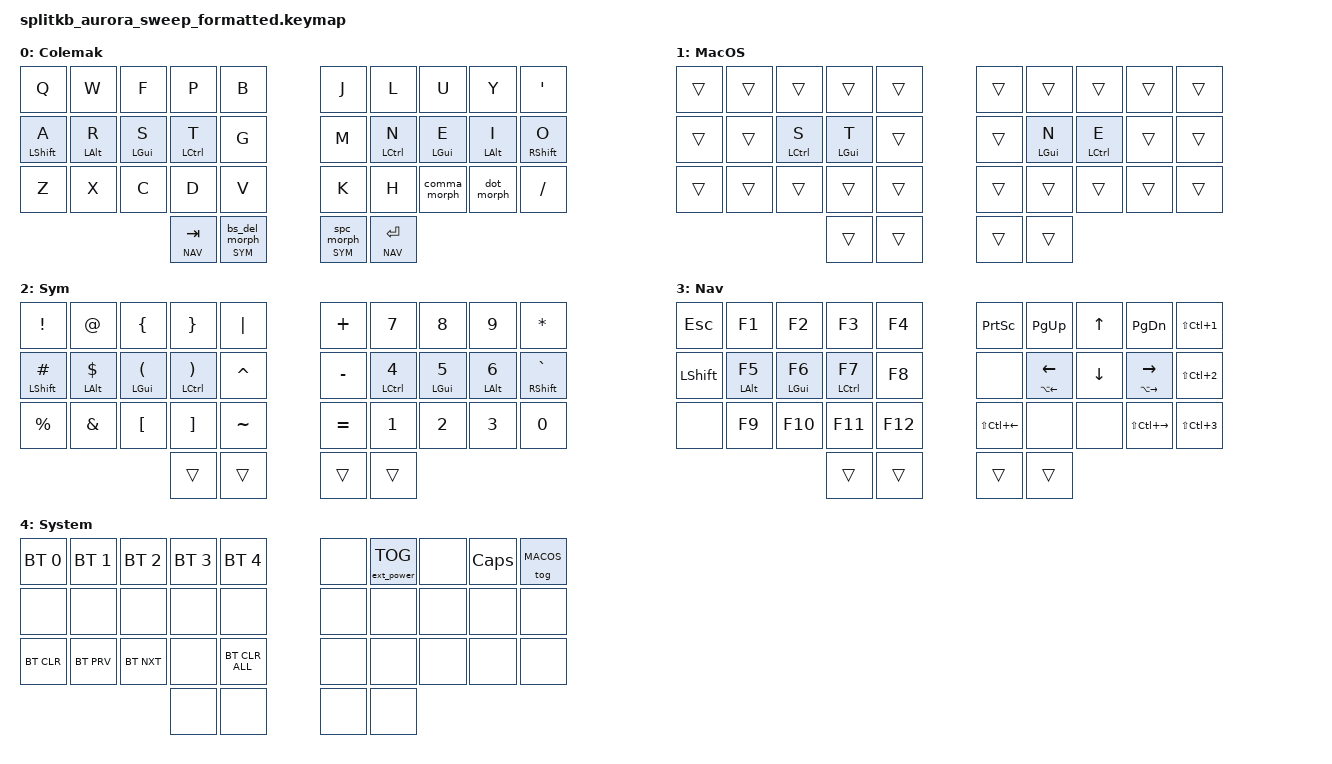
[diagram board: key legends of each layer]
#include <behaviors.dtsi>
#include <dt-bindings/zmk/bt.h>
#include <dt-bindings/zmk/keys.h>
#include <dt-bindings/zmk/ext_power.h>

#define BASE 0
#define MACOS 1
#define SYM 2
#define NAV 3
#define SYS 4

#define QUICK_TAP_MS 175
#define QUICK_TAP_MS_SLOW 250

#define COMBO_TERM_FAST 30
#define COMBO_TERM_SLOW 50

#define COMBO_IDLE_FAST 150
#define COMBO_IDLE_SLOW 50

&nice_view_spi {
    cs-gpios = <&pro_micro 1 GPIO_ACTIVE_HIGH>;  // use D1 for CS
};

// &led_strip {
//     chain-length = <23>;  // Adjust this to match your LED count
// };

/* sticky-key config */
&sk {
    release-after-ms = <900>;  // release after 0.6s
    quick-release;             // no double capitalization when rolling keys
};

/* sticky-layer config */
&sl {
    ignore-modifiers;          // allow chording sticky mods & layers
};

/* layer-tap config */
&lt {
    flavor = "balanced";
    tapping-term-ms = <200>;
    quick-tap-ms = <QUICK_TAP_MS>;
};

/* Shortcut aliases */

#define MOVETO_1    &kp LS(LC(N1))
#define MOVETO_2    &kp LS(LC(N2))
#define MOVETO_3    &kp LS(LC(N3))

#define TERM_LEFT   &kp LS(LC(LEFT))
#define TERM_RIGHT  &kp LS(LC(RIGHT))

#define DESK_UP     &kp LS(LA(LC(UP)))
#define DESK_DOWN   &kp LS(LA(LC(DOWN)))

#define _COPY       &kp LC(INS)
#define _PASTE      &kp LS(INS)

/* Homerow mods */

#define KEYS_L 0 1 2 3 4 10 11 12 13 14 20 21 22 23 24  // left hand
#define KEYS_R 5 6 7 8 9 15 16 17 18 19 25 26 27 28 29  // right hand
#define THUMBS 30 31 32 33                              // thumbs

/* Custom behaviors */

/ {
    behaviors {
        hml: homerow_mods_left {
            compatible = "zmk,behavior-hold-tap";
            #binding-cells = <2>;
            flavor = "balanced";
            tapping-term-ms = <280>;
            quick-tap-ms = <QUICK_TAP_MS>;
            require-prior-idle-ms = <150>;
            bindings = <&kp>, <&kp>;
            hold-trigger-key-positions = <KEYS_R THUMBS>;
            hold-trigger-on-release;
        };

        hmr: homerow_mods_right {
            compatible = "zmk,behavior-hold-tap";
            #binding-cells = <2>;
            flavor = "balanced";
            tapping-term-ms = <280>;
            quick-tap-ms = <QUICK_TAP_MS>;
            require-prior-idle-ms = <150>;
            bindings = <&kp>, <&kp>;
            hold-trigger-key-positions = <KEYS_L THUMBS>;
            hold-trigger-on-release;
        };

        // long-tap action on hold, short-tap action on all interrupts
        mt: mod_tap {
            compatible = "zmk,behavior-hold-tap";
            #binding-cells = <2>;
            flavor = "tap-preferred";
            tapping-term-ms = <220>;
            quick-tap-ms = <220>;
            hold-trigger-key-positions = <0>;
            bindings = <&kp>, <&kp>;
        };

        // tap: space | shift + tap: space -> sticky shift | hold: activate layer
        lt_spc: layer_tap_space_mod {
            compatible = "zmk,behavior-hold-tap";
            #binding-cells = <2>;
            flavor = "balanced";
            tapping-term-ms = <200>;
            quick-tap-ms = <QUICK_TAP_MS>;
            bindings = <&mo>, <&spc_morph>;
        };

        spc_morph: space_morph {
            compatible = "zmk,behavior-mod-morph";
            #binding-cells = <0>;
            bindings = <&kp SPACE>, <&dot_spc>;
            mods = <(MOD_LSFT|MOD_RSFT)>;
        };

        // tap: comma | shift + tap: semicolon | alt + shift + tap: <
        comma_morph: comma_morph {
            compatible = "zmk,behavior-mod-morph";
            #binding-cells = <0>;
            bindings = <&kp COMMA>, <&comma_inner_morph>;
            mods = <(MOD_LSFT|MOD_RSFT)>;
        };

        comma_inner_morph: comma_inner_morph {
            compatible = "zmk,behavior-mod-morph";
            #binding-cells = <0>;
            bindings = <&kp SEMICOLON>, <&kp LESS_THAN>;
            mods = <(MOD_LALT)>;
        };

        // tap: dot | shift + tap: colon | alt + shift + tap: >
        dot_morph: dot_morph {
            compatible = "zmk,behavior-mod-morph";
            #binding-cells = <0>;
            bindings = <&kp DOT>, <&dot_inner_morph>;
            mods = <(MOD_LSFT|MOD_RSFT)>;
        };

        dot_inner_morph: dot_inner_morph {
            compatible = "zmk,behavior-mod-morph";
            #binding-cells = <0>;
            bindings = <&kp COLON>, <&kp GREATER_THAN>;
            mods = <(MOD_LALT)>;
        };

        lt_bs_del: layer_tap_backspace_mod {
            compatible = "zmk,behavior-hold-tap";
            #binding-cells = <2>;
            flavor = "balanced";
            tapping-term-ms = <200>;
            quick-tap-ms = <QUICK_TAP_MS_SLOW>;
            bindings = <&mo>, <&bs_del_morph>;
        };

        // tap: backspace | lshft + tap: delete | rshft + tap: shift-delete
        bs_del_morph: backspace_delete_morph {
            compatible = "zmk,behavior-mod-morph";
            #binding-cells = <0>;
            bindings = <&kp BSPC>, <&kp DEL>;
            mods = <(MOD_LSFT|MOD_RSFT)>;
            keep-mods = <MOD_RSFT>;
        };
    };

    macros {
        dot_spc: dot_space {
            compatible = "zmk,behavior-macro";
            #binding-cells = <0>;
            wait-ms = <0>;
            tap-ms = <5>;
            bindings = <&kp SPACE &sk LSHFT>;
        };
    };

    combos {
        compatible = "zmk,combos";

        esc {
            timeout-ms = <COMBO_TERM_SLOW>;
            bindings = <&kp ESC>;
            key-positions = <1 2>;
            layers = <BASE MACOS SYM NAV>;
            require-prior-idle-ms = <COMBO_IDLE_FAST>;
        };

        copy {
            timeout-ms = <COMBO_TERM_SLOW>;
            bindings = <&kp LC(C)>;
            key-positions = <21 22>;
            layers = <BASE SYM NAV>;
            require-prior-idle-ms = <COMBO_IDLE_FAST>;
        };

        copy_mac {
            timeout-ms = <COMBO_TERM_SLOW>;
            bindings = <&kp LG(C)>;
            key-positions = <21 22>;
            layers = <MACOS>;
            require-prior-idle-ms = <COMBO_IDLE_FAST>;
        };

        paste {
            timeout-ms = <COMBO_TERM_SLOW>;
            bindings = <&kp LS(INS)>;
            key-positions = <22 23>;
            layers = <BASE MACOS SYM NAV>;
            require-prior-idle-ms = <COMBO_IDLE_FAST>;
        };

        cut {
            timeout-ms = <COMBO_TERM_SLOW>;
            bindings = <&kp LC(X)>;
            key-positions = <21 23>;
            layers = <BASE SYM NAV>;
            require-prior-idle-ms = <COMBO_IDLE_FAST>;
        };

        cut_mac {
            timeout-ms = <COMBO_TERM_SLOW>;
            bindings = <&kp LG(X)>;
            key-positions = <21 23>;
            layers = <MACOS>;
            require-prior-idle-ms = <COMBO_IDLE_FAST>;
        };

        activate_sys {
            timeout-ms = <COMBO_TERM_SLOW>;
            bindings = <&mo SYS>;
            key-positions = <30 33>;
            layers = <BASE MACOS SYM NAV>;
        };
    };

#define NAV_LEFT  &mt LA(LEFT)  LEFT    // tap: left  | long-tap: left word by word
#define NAV_RIGHT &mt LA(RIGHT) RIGHT   // tap: right | long-tap: right word by word
// #define NAV_UP    &mt PAGE_UP   UP      // tap: up    | long-tap: page up
// #define NAV_DOWN  &mt PAGE_DOWN DOWN    // tap: down  | long-tap: page down
// #define NAV_BSPC  &mt LC(BSPC)  BSPC    // tap: bspc  | long-tap: delete word backward
// #define NAV_DEL   &mt LC(DEL)   DEL     // tap: del   | long-tap: delete word forward

    keymap {
        compatible = "zmk,keymap";

        base_layer {
            display-name = "Colemak";
            bindings = <
//╭─────────────────┬─────────────────┬─────────────────┬─────────────────┬─────────────────╮ ╭─────────────────┬─────────────────┬─────────────────┬─────────────────┬─────────────────╮
    &kp Q             &kp W             &kp F             &kp P             &kp B               &kp J             &kp L             &kp U             &kp Y             &kp SQT
//├─────────────────┼─────────────────┼─────────────────┼─────────────────┼─────────────────┤ ├─────────────────┼─────────────────┼─────────────────┼─────────────────┼─────────────────┤
    &hml LSHFT A      &hml LALT R       &hml LGUI S       &hml LCTRL T      &kp G               &kp M             &hmr LCTRL N      &hmr LGUI E       &hmr LALT I       &hmr RSHFT O
//├─────────────────┼─────────────────┼─────────────────┼─────────────────┼─────────────────┤ ├─────────────────┼─────────────────┼─────────────────┼─────────────────┼─────────────────┤
    &kp Z             &kp X             &kp C             &kp D             &kp V               &kp K             &kp H             &comma_morph      &dot_morph        &kp SLASH
//╰─────────────────┴─────────────────┴─────────────────┼─────────────────┼─────────────────┤ ├─────────────────┼─────────────────┼─────────────────┴─────────────────┴─────────────────╯
                                                          &lt NAV TAB       &lt_bs_del SYM 0    &lt_spc SYM 0     &lt NAV RET
//                                                      ╰─────────────────┴─────────────────╯ ╰─────────────────┴─────────────────╯
            >;
        };

        macos_layer {
            display-name = "MacOS";
            bindings = <
//╭─────────────────┬─────────────────┬─────────────────┬─────────────────┬─────────────────╮ ╭─────────────────┬─────────────────┬─────────────────┬─────────────────┬─────────────────╮
    &trans            &trans            &trans            &trans            &trans              &trans            &trans            &trans            &trans            &trans
//├─────────────────┼─────────────────┼─────────────────┼─────────────────┼─────────────────┤ ├─────────────────┼─────────────────┼─────────────────┼─────────────────┼─────────────────┤
    &trans            &trans            &hml LCTRL S      &hml LGUI T       &trans              &trans            &hmr LGUI N       &hmr LCTRL E      &trans            &trans
//├─────────────────┼─────────────────┼─────────────────┼─────────────────┼─────────────────┤ ├─────────────────┼─────────────────┼─────────────────┼─────────────────┼─────────────────┤
    &trans            &trans            &trans            &trans            &trans              &trans            &trans            &trans            &trans            &trans
//╰─────────────────┴─────────────────┴─────────────────┼─────────────────┼──��──────────────┤ ├─────────────────┼─────────────────┼─────────────────┴─────────────────┴─────────────────╯
                                                          &trans            &trans              &trans            &trans
//                                                      ╰─────────────────┴─────────────────╯ ╰─────────────────┴─────────────────╯
            >;
        };

        sym_layer {
            display-name = "Sym";
            bindings = <
//╭─────────────────┬─────────────────┬─────────────────┬─────────────────┬─────────────────╮ ╭─────────────────┬─────────────────┬─────────────────┬─────────────────┬─────────────────╮
    &kp EXCL          &kp AT            &kp LBRC          &kp RBRC          &kp PIPE            &kp PLUS          &kp N7            &kp N8            &kp N9            &kp STAR
//├─────────────────┼─────────────────┼─────────────────┼─────────────────┼─────────────────┤ ├─────────────────┼─────────────────┼─────────────────┼─────────────────┼─────────────────┤
    &hml LSHFT HASH   &hml LALT DLLR    &hml LGUI LPAR    &hml LCTRL RPAR   &kp CARET           &kp MINUS         &hmr LCTRL N4     &hmr LGUI N5      &hmr LALT N6      &hmr RSHFT GRAVE
//├─────────────────┼─────────────────┼─────────────────┼─────────────────┼─────────────────┤ ├─────────────────┼─────────────────┼─────────────────┼─────────────────┼──────────��──────┤
    &kp PRCNT         &kp AMPERSAND     &kp LBKT          &kp RBKT          &kp TILDE           &kp EQUAL         &kp N1            &kp N2            &kp N3            &kp N0
//╰─────────────────┴─────────────────┴─────────────────┼─────────────────┼─────────────────┤ ├─────────────────┼─────────────────┼─────────────────┴─────────────────┴─────────────────╯
                                                          &trans            &trans              &trans            &trans
//                                                      ╰─────────────────┴─────────────────╯ ╰─────────────────┴─────────────────╯
            >;
        };

        nav_layer {
            display-name = "Nav";
            bindings = <
//╭─────────────────┬─────────────────┬─────────────────┬─────────────────┬─────────────────╮ ╭─────────────────┬─────────────────┬─────────────────┬─────────────────┬─────────────────╮
    &kp ESC           &kp F1            &kp F2            &kp F3            &kp F4              &kp PSCRN         &kp PAGE_UP       &kp UP            &kp PAGE_DOWN     MOVETO_1
//├─────────────────┼─────────────────┼─────────────────┼─────────────────┼─────────────────┤ ├─────────────────┼─────────────────┼─────────────────┼─────────────────┼─────────────────┤
    &kp LSHFT         &hml LALT F5      &hml LGUI F6      &hml LCTRL F7     &kp F8              &none             NAV_LEFT          &kp DOWN          NAV_RIGHT         MOVETO_2
//├─────────────────┼─────────────────┼─────────────────┼─────────────────┼─────────────────┤ ├─────────────────┼─────────────────┼─────────────────┼─────────────────┼─────────────────┤
    &none             &kp F9            &kp F10           &kp F11           &kp F12             TERM_LEFT         &none             &none             TERM_RIGHT        MOVETO_3
//╰─────────────────┴─────────────────┴─────────────────┼─────────────────┼─────────────────┤ ├─────────────────┼─────────────────┼─────────────────┴─────────────────┴─────────────────╯
                                                          &trans            &trans              &trans            &trans
//                                                      ╰─────────────────┴─────���───────────╯ ╰─────────────────┴─────────────────╯
            >;
        };

        sys_layer {
            display-name = "System";
            bindings = <
//╭─────────────────┬─────────────────┬─────────────────┬─────────────────┬─────────────────╮ ╭─────────────────┬─────────────────┬─────────────────┬─────────────────┬─────────────────╮
    &bt BT_SEL 0      &bt BT_SEL 1      &bt BT_SEL 2      &bt BT_SEL 3      &bt BT_SEL 4        &none   &ext_power EP_TOG   &none   &kp CAPS          &tog MACOS
//├─────────────────┼─────────────────┼─────────────────┼─────────────────┼─────────────────┤ ├─────────────────┼─────────────────┼─────────────────┼─────────────────┼─────────────────┤
    &none             &none             &none             &none             &none               &none             &none             &none             &none             &none
//├─────────────────┼─────────────────┼─────────────────┼─────────────────┼─────────────────┤ ├─────────────────┼─────────────────┼─────────────────┼─────────────────┼─────────────────┤
    &bt BT_CLR        &bt BT_PRV        &bt BT_NXT        &none             &bt BT_CLR_ALL      &none             &none             &none             &none             &none
//╰─────────────────┴─────────────────┴─────────────────┼─────────────────┼─────────────────┤ ├─────────────────┼─────────────────┼─────────────────┴─────────────────┴─────────────────╯
                                                          &none             &none               &none             &none
//                                                      ╰─────────────────┴─────────────────╯ ╰─────────────────┴─────────────────╯
            >;
        };
    };
};

/* vim: set ft=c tw=174: */
